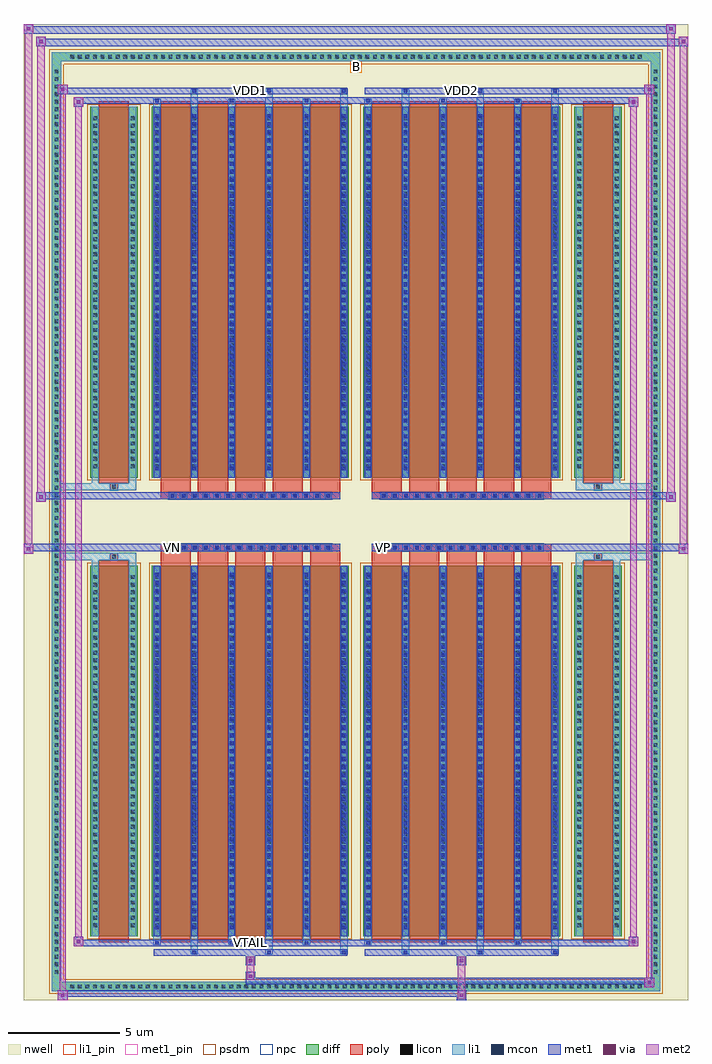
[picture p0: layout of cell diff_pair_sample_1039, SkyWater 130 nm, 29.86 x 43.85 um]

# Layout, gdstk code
import gdstk
lib = gdstk.Library(unit=1e-6, precision=5e-09)
def R(c, l, rs):  # rectangles x0, y0, x1, y1
    for r in rs: c.add(gdstk.rectangle(r[:2], r[2:], *l))
def A(c, l, x, y, w, h, nx, ny, dx, dy):  # array of equal rectangles
    R(c, l, [(x+i*dx, y+j*dy, x+i*dx+w, y+j*dy+h) for i in range(nx) for j in range(ny)])
def P(c, l, *ps):  # polygons
    for p in ps: c.add(gdstk.Polygon(p, *l))
nwell = (64, 20)
diff = (65, 20)
poly = (66, 20)
licon = (66, 44)
li1_pin = (67, 16)
li1 = (67, 20)
mcon = (67, 44)
met1_pin = (68, 16)
met1 = (68, 20)
via = (68, 44)
met2 = (69, 20)
psdm = (94, 20)
npc = (95, 20)

diff_pair_sample_1039 = lib.new_cell('diff_pair_sample_1039')
R(diff_pair_sample_1039, nwell, [(-14.93,-21.49,14.93,22.36), (-12.25,-19.68,-0.01,-0.8), (0.01,-19.68,12.25,-0.8), (-12.25,0.8,-0.01,19.68), (0.01,0.8,12.25,19.68)])
A(diff_pair_sample_1039, diff, -12.955, -21.09, 0.41, 0.41, 76, 2, 0.34, 41.77)
A(diff_pair_sample_1039, diff, -13.66, -20.435, 0.41, 0.41, 1, 120, 0, 0.34)
A(diff_pair_sample_1039, diff, 13.25, -20.435, 0.41, 0.41, 1, 120, 0, 0.34)
R(diff_pair_sample_1039, diff, [(-12.955,-21.09,12.955,-20.68), (-13.66,-20.435,-13.25,20.435), (13.25,-20.435,13.66,20.435), (-11.94,-18.635,-9.81,-1.985), (-9.17,-18.635,-0.32,-1.985), (0.32,-18.635,9.17,-1.985), (9.81,-18.635,11.94,-1.985), (-11.94,1.985,-9.81,18.635), (-9.17,1.985,-0.32,18.635), (0.32,1.985,9.17,18.635), (9.81,1.985,11.94,18.635), (-12.955,20.68,12.955,21.09)])
P(diff_pair_sample_1039, diff, [(13.66,21.09),(-13.66,21.09),(-13.66,-20.68),(-13.25,-20.68),(-13.25,20.68),(13.25,20.68),(13.25,-20.68),(-13.25,-20.68),(-13.66,-20.68),(-13.66,-21.09),(13.66,-21.09)])
A(diff_pair_sample_1039, poly, -8.78, -18.885, 1.35, 17.15, 5, 2, 1.68, 20.62)
A(diff_pair_sample_1039, poly, 0.71, -18.885, 1.35, 17.15, 5, 2, 1.68, 20.62)
A(diff_pair_sample_1039, poly, -8.78, -1.735, 1.35, 0.405, 5, 2, 1.68, 3.065)
A(diff_pair_sample_1039, poly, 0.71, -1.735, 1.35, 0.405, 5, 2, 1.68, 3.065)
A(diff_pair_sample_1039, poly, -8.41, -1.33, 0.33, 0.33, 15, 2, 0.5, 2.33)
A(diff_pair_sample_1039, poly, 1.08, -1.33, 0.33, 0.33, 15, 2, 0.5, 2.33)
R(diff_pair_sample_1039, poly, [(-11.55,-18.885,-10.2,-1.735), (10.2,-18.885,11.55,-1.735), (-11.04,-1.735,-10.71,-1.405), (-11.04,-1.735,-10.71,-1.405), (10.71,-1.735,11.04,-1.405), (10.71,-1.735,11.04,-1.405), (-8.78,-1.33,-0.71,-1), (0.71,-1.33,8.78,-1), (-8.78,1,-0.71,1.33), (0.71,1,8.78,1.33), (-11.04,1.405,-10.71,1.735), (-11.04,1.405,-10.71,1.735), (10.71,1.405,11.04,1.735), (10.71,1.405,11.04,1.735), (-11.55,1.735,-10.2,18.885), (10.2,1.735,11.55,18.885)])
A(diff_pair_sample_1039, licon, -12.835, -20.97, 0.17, 0.17, 76, 2, 0.34, 41.77)
A(diff_pair_sample_1039, licon, -13.54, -20.315, 0.17, 0.17, 1, 120, 0, 0.34)
A(diff_pair_sample_1039, licon, 13.37, -20.315, 0.17, 0.17, 1, 120, 0, 0.34)
A(diff_pair_sample_1039, licon, -11.8, -18.215, 0.17, 0.17, 1, 47, 0, 0.34)
A(diff_pair_sample_1039, licon, -10.12, -18.215, 0.17, 0.17, 1, 47, 0, 0.34)
A(diff_pair_sample_1039, licon, -9.03, -18.215, 0.17, 0.17, 6, 47, 1.68, 0.34)
A(diff_pair_sample_1039, licon, 0.46, -18.215, 0.17, 0.17, 6, 47, 1.68, 0.34)
A(diff_pair_sample_1039, licon, 9.95, -18.215, 0.17, 0.17, 1, 47, 0, 0.34)
A(diff_pair_sample_1039, licon, 11.63, -18.215, 0.17, 0.17, 1, 47, 0, 0.34)
A(diff_pair_sample_1039, licon, -8.33, -1.25, 0.17, 0.17, 15, 2, 0.5, 2.33)
A(diff_pair_sample_1039, licon, 1.16, -1.25, 0.17, 0.17, 15, 2, 0.5, 2.33)
A(diff_pair_sample_1039, licon, -11.8, 2.405, 0.17, 0.17, 1, 47, 0, 0.34)
A(diff_pair_sample_1039, licon, -10.12, 2.405, 0.17, 0.17, 1, 47, 0, 0.34)
A(diff_pair_sample_1039, licon, -9.03, 2.405, 0.17, 0.17, 6, 47, 1.68, 0.34)
A(diff_pair_sample_1039, licon, 0.46, 2.405, 0.17, 0.17, 6, 47, 1.68, 0.34)
A(diff_pair_sample_1039, licon, 9.95, 2.405, 0.17, 0.17, 1, 47, 0, 0.34)
A(diff_pair_sample_1039, licon, 11.63, 2.405, 0.17, 0.17, 1, 47, 0, 0.34)
R(diff_pair_sample_1039, licon, [(-10.96,-1.655,-10.79,-1.485), (10.79,-1.655,10.96,-1.485), (-10.96,1.485,-10.79,1.655), (10.79,1.485,10.96,1.655)])
R(diff_pair_sample_1039, li1_pin, [(-0.25,20.18,0.25,20.68)])
A(diff_pair_sample_1039, li1, -12.915, -21.05, 0.33, 0.33, 76, 2, 0.34, 41.77)
A(diff_pair_sample_1039, li1, -13.62, -20.395, 0.33, 0.33, 1, 120, 0, 0.34)
A(diff_pair_sample_1039, li1, 13.29, -20.395, 0.33, 0.33, 1, 120, 0, 0.34)
A(diff_pair_sample_1039, li1, -7.43, -19.44, 0.33, 0.805, 3, 2, 3.36, 38.075)
A(diff_pair_sample_1039, li1, -7.35, -19.44, 0.17, 0.17, 3, 2, 3.36, 38.71)
A(diff_pair_sample_1039, li1, 2.06, -19.44, 0.33, 0.805, 3, 2, 3.36, 38.075)
A(diff_pair_sample_1039, li1, 2.14, -19.44, 0.17, 0.17, 3, 2, 3.36, 38.71)
A(diff_pair_sample_1039, li1, -9.11, -19.01, 0.33, 0.375, 3, 2, 3.36, 37.645)
A(diff_pair_sample_1039, li1, -9.03, -19.01, 0.17, 0.17, 3, 2, 3.36, 37.85)
A(diff_pair_sample_1039, li1, 0.38, -19.01, 0.33, 0.375, 3, 2, 3.36, 37.645)
A(diff_pair_sample_1039, li1, 0.46, -19.01, 0.17, 0.17, 3, 2, 3.36, 37.85)
A(diff_pair_sample_1039, li1, -9.11, -18.635, 0.33, 16.65, 6, 2, 1.68, 20.62)
A(diff_pair_sample_1039, li1, 0.38, -18.635, 0.33, 16.65, 6, 2, 1.68, 20.62)
A(diff_pair_sample_1039, li1, -9.03, -18.315, 0.17, 0.17, 6, 45, 1.68, 0.36)
A(diff_pair_sample_1039, li1, -9.03, -18.315, 0.17, 16.01, 6, 2, 1.68, 20.62)
A(diff_pair_sample_1039, li1, 0.46, -18.315, 0.17, 0.17, 6, 45, 1.68, 0.36)
A(diff_pair_sample_1039, li1, 0.46, -18.315, 0.17, 16.01, 6, 2, 1.68, 20.62)
A(diff_pair_sample_1039, li1, -11.88, -18.295, 0.33, 0.33, 1, 47, 0, 0.34)
A(diff_pair_sample_1039, li1, -10.2, -18.295, 0.33, 0.33, 1, 47, 0, 0.34)
A(diff_pair_sample_1039, li1, -9.11, -18.295, 0.33, 0.33, 6, 47, 1.68, 0.34)
A(diff_pair_sample_1039, li1, 0.38, -18.295, 0.33, 0.33, 6, 47, 1.68, 0.34)
A(diff_pair_sample_1039, li1, 9.87, -18.295, 0.33, 0.33, 1, 47, 0, 0.34)
A(diff_pair_sample_1039, li1, 11.55, -18.295, 0.33, 0.33, 1, 47, 0, 0.34)
A(diff_pair_sample_1039, li1, -8.41, -1.33, 0.33, 0.33, 15, 2, 0.5, 2.33)
A(diff_pair_sample_1039, li1, 1.08, -1.33, 0.33, 0.33, 15, 2, 0.5, 2.33)
A(diff_pair_sample_1039, li1, -9.03, 2.305, 0.17, 0.17, 6, 45, 1.68, 0.36)
A(diff_pair_sample_1039, li1, 0.46, 2.305, 0.17, 0.17, 6, 45, 1.68, 0.36)
A(diff_pair_sample_1039, li1, -11.88, 2.325, 0.33, 0.33, 1, 47, 0, 0.34)
A(diff_pair_sample_1039, li1, -10.2, 2.325, 0.33, 0.33, 1, 47, 0, 0.34)
A(diff_pair_sample_1039, li1, -9.11, 2.325, 0.33, 0.33, 6, 47, 1.68, 0.34)
A(diff_pair_sample_1039, li1, 0.38, 2.325, 0.33, 0.33, 6, 47, 1.68, 0.34)
A(diff_pair_sample_1039, li1, 9.87, 2.325, 0.33, 0.33, 1, 47, 0, 0.34)
A(diff_pair_sample_1039, li1, 11.55, 2.325, 0.33, 0.33, 1, 47, 0, 0.34)
R(diff_pair_sample_1039, li1, [(-13.66,-21.09,-13.25,-20.68), (-13.66,-21.09,-13.25,-20.68), (-13.25,-21.09,13.25,-20.68), (13.25,-21.09,13.66,-20.68), (13.25,-21.09,13.66,-20.68), (-13.66,-20.68,-13.25,20.68), (13.25,-20.68,13.66,20.68), (-11.88,-18.635,-11.55,-1.985), (-10.2,-18.635,-9.87,-1.985), (9.87,-18.635,10.2,-1.985), (11.55,-18.635,11.88,-1.985), (-11.88,-1.985,-11.55,-1.405), (-10.2,-1.985,-9.87,-1.405), (9.87,-1.985,10.2,-1.405), (11.55,-1.985,11.88,-1.405), (-13.66,-1.735,-11.04,-1.405), (-11.88,-1.735,-11.04,-1.405), (-11.04,-1.735,-10.71,-1.405), (-10.71,-1.735,-9.87,-1.405), (9.87,-1.735,10.71,-1.405), (10.71,-1.735,11.04,-1.405), (10.71,-1.735,13.66,-1.405), (11.04,-1.735,11.88,-1.405), (-13.66,1.405,-11.04,1.735), (-11.88,1.405,-11.04,1.735), (-11.88,1.405,-11.55,1.985), (-11.04,1.405,-10.71,1.735), (-10.71,1.405,-9.87,1.735), (-10.2,1.405,-9.87,1.985), (9.87,1.405,10.71,1.735), (9.87,1.405,10.2,1.985), (10.71,1.405,11.04,1.735), (10.71,1.405,13.66,1.735), (11.04,1.405,11.88,1.735), (11.55,1.405,11.88,1.985), (-11.88,1.985,-11.55,18.635), (-10.2,1.985,-9.87,18.635), (9.87,1.985,10.2,18.635), (11.55,1.985,11.88,18.635), (-13.66,20.68,-13.25,21.09), (-13.66,20.68,-13.25,21.09), (-13.25,20.68,13.25,21.09), (13.25,20.68,13.66,21.09), (13.25,20.68,13.66,21.09)])
A(diff_pair_sample_1039, mcon, -7.35, -19.44, 0.17, 0.17, 3, 2, 3.36, 38.71)
A(diff_pair_sample_1039, mcon, 2.14, -19.44, 0.17, 0.17, 3, 2, 3.36, 38.71)
A(diff_pair_sample_1039, mcon, -9.03, -19.01, 0.17, 0.17, 3, 2, 3.36, 37.85)
A(diff_pair_sample_1039, mcon, 0.46, -19.01, 0.17, 0.17, 3, 2, 3.36, 37.85)
A(diff_pair_sample_1039, mcon, -9.03, -18.315, 0.17, 0.17, 6, 45, 1.68, 0.36)
A(diff_pair_sample_1039, mcon, 0.46, -18.315, 0.17, 0.17, 6, 45, 1.68, 0.36)
A(diff_pair_sample_1039, mcon, -8.33, -1.25, 0.17, 0.17, 15, 2, 0.5, 2.33)
A(diff_pair_sample_1039, mcon, 1.16, -1.25, 0.17, 0.17, 15, 2, 0.5, 2.33)
A(diff_pair_sample_1039, mcon, -9.03, 2.305, 0.17, 0.17, 6, 45, 1.68, 0.36)
A(diff_pair_sample_1039, mcon, 0.46, 2.305, 0.17, 0.17, 6, 45, 1.68, 0.36)
R(diff_pair_sample_1039, met1_pin, [(-4.88,-19.05,-4.61,-18.78), (-8.38,-1.29,-8.11,-1.02), (1.11,-1.29,1.38,-1.02), (-4.88,19.23,-4.61,19.5), (4.61,19.23,4.88,19.5)])
A(diff_pair_sample_1039, met1, -7.41, -19.5, 0.29, 0.29, 3, 2, 3.36, 38.71)
A(diff_pair_sample_1039, met1, 2.08, -19.5, 0.29, 0.29, 3, 2, 3.36, 38.71)
A(diff_pair_sample_1039, met1, -9.09, -19.07, 0.29, 0.29, 3, 2, 3.36, 37.85)
A(diff_pair_sample_1039, met1, 0.4, -19.07, 0.29, 0.29, 3, 2, 3.36, 37.85)
A(diff_pair_sample_1039, met1, -9.09, -18.635, 0.29, 16.65, 6, 2, 1.68, 20.62)
A(diff_pair_sample_1039, met1, 0.4, -18.635, 0.29, 16.65, 6, 2, 1.68, 20.62)
A(diff_pair_sample_1039, met1, -9.09, -18.375, 0.29, 0.29, 6, 45, 1.68, 0.36)
A(diff_pair_sample_1039, met1, 0.4, -18.375, 0.29, 0.29, 6, 45, 1.68, 0.36)
A(diff_pair_sample_1039, met1, -8.39, -1.31, 0.29, 0.29, 15, 2, 0.5, 2.33)
A(diff_pair_sample_1039, met1, 1.1, -1.31, 0.29, 0.29, 15, 2, 0.5, 2.33)
A(diff_pair_sample_1039, met1, -9.09, 2.245, 0.29, 0.29, 6, 45, 1.68, 0.36)
A(diff_pair_sample_1039, met1, 0.4, 2.245, 0.29, 0.29, 6, 45, 1.68, 0.36)
R(diff_pair_sample_1039, met1, [(-13.39,-21.49,-12.96,-21.06), (4.53,-21.49,4.96,-21.06), (-13.39,-21.35,4.96,-21.06), (12.96,-20.92,13.39,-20.49), (-4.96,-20.78,13.39,-20.49), (-4.96,-20.64,-4.53,-20.21), (-4.96,-19.93,-4.53,-19.5), (4.53,-19.93,4.96,-19.5), (-9.09,-19.5,-0.4,-19.21), (0.4,-19.5,9.09,-19.21), (-12.68,-19.07,-12.25,-18.64), (-12.68,-19.07,-9.09,-18.78), (-9.09,-19.07,-0.4,-18.78), (-0.4,-19.07,0.4,-18.78), (0.4,-19.07,9.09,-18.78), (9.09,-19.07,12.68,-18.78), (12.25,-19.07,12.68,-18.64), (-14.93,-1.43,-14.5,-1), (14.5,-1.43,14.93,-1), (-14.93,-1.33,-0.71,-1), (-8.78,-1.33,-0.71,-1), (0.71,-1.33,8.78,-1), (0.71,-1.33,14.93,-1), (-14.36,0.9,-13.93,1.33), (13.93,0.9,14.36,1.33), (-14.36,1,-8.78,1.33), (-8.78,1,-0.71,1.33), (0.71,1,8.78,1.33), (8.78,1,14.36,1.33), (-12.68,18.64,-12.25,19.07), (12.25,18.64,12.68,19.07), (-12.68,18.78,-9.09,19.07), (-9.09,18.78,-0.4,19.07), (-0.4,18.78,0.4,19.07), (0.4,18.78,9.09,19.07), (9.09,18.78,12.68,19.07), (-13.39,19.21,-12.96,19.64), (-13.39,19.21,-9.09,19.5), (-9.09,19.21,-0.4,19.5), (0.4,19.21,9.09,19.5), (9.09,19.21,13.39,19.5), (12.96,19.21,13.39,19.64), (-14.36,21.36,-13.93,21.79), (-14.36,21.36,-12.25,21.69), (-12.25,21.36,12.25,21.69), (12.25,21.36,14.93,21.69), (14.5,21.36,14.93,21.79), (-14.93,21.93,-14.5,22.36), (-14.93,21.93,-12.25,22.26), (-12.25,21.93,12.25,22.26), (12.25,21.93,14.36,22.26), (13.93,21.93,14.36,22.36)])
R(diff_pair_sample_1039, via, [(-13.25,-21.35,-13.1,-21.2), (4.67,-21.35,4.82,-21.2), (13.1,-20.78,13.25,-20.63), (-4.82,-20.5,-4.67,-20.35), (-4.82,-19.79,-4.67,-19.64), (4.67,-19.79,4.82,-19.64), (-12.54,-18.93,-12.39,-18.78), (12.39,-18.93,12.54,-18.78), (-14.79,-1.29,-14.64,-1.14), (14.64,-1.29,14.79,-1.14), (-14.22,1.04,-14.07,1.19), (14.07,1.04,14.22,1.19), (-12.54,18.78,-12.39,18.93), (12.39,18.78,12.54,18.93), (-13.25,19.35,-13.1,19.5), (13.1,19.35,13.25,19.5), (-14.22,21.5,-14.07,21.65), (14.64,21.5,14.79,21.65), (-14.79,22.07,-14.64,22.22), (14.07,22.07,14.22,22.22)])
R(diff_pair_sample_1039, met2, [(-13.39,-21.49,-12.96,-21.06), (-13.32,-21.49,-13.03,19.64), (-13.03,-21.49,-12.96,-21.06), (-13.34,-21.44,-13.01,-21.11), (4.58,-21.44,4.91,-21.11), (4.58,-21.11,4.91,-19.88), (12.96,-20.92,13.39,-20.49), (13.03,-20.92,13.32,19.64), (13.32,-20.92,13.39,-20.49), (13.01,-20.87,13.34,-20.54), (-4.91,-20.59,-4.58,-20.26), (-4.91,-20.26,-4.58,-19.88), (-4.91,-19.88,-4.58,-19.55), (4.58,-19.88,4.91,-19.55), (-12.68,-19.07,-12.25,-18.64), (-12.61,-19.07,-12.32,19.07), (-12.32,-19.07,-12.25,-18.64), (12.25,-19.07,12.68,-18.64), (12.32,-19.07,12.61,19.07), (12.61,-19.07,12.68,-18.64), (-12.63,-19.02,-12.3,-18.69), (12.3,-19.02,12.63,-18.69), (-14.93,-1.43,-14.5,-1), (-14.88,-1.43,-14.55,22.36), (-14.55,-1.43,-14.5,-1), (14.5,-1.43,14.93,-1), (14.55,-1.43,14.88,21.79), (14.88,-1.43,14.93,-1), (-14.88,-1.38,-14.55,-1.05), (14.55,-1.38,14.88,-1.05), (-14.36,0.9,-13.93,1.33), (-14.31,0.9,-13.98,21.79), (-13.98,0.9,-13.93,1.33), (13.93,0.9,14.36,1.33), (13.98,0.9,14.31,22.36), (14.31,0.9,14.36,1.33), (-14.31,0.95,-13.98,1.28), (13.98,0.95,14.31,1.28), (-12.68,18.64,-12.25,19.07), (-12.32,18.64,-12.25,19.07), (12.25,18.64,12.68,19.07), (12.61,18.64,12.68,19.07), (-12.63,18.69,-12.3,19.02), (12.3,18.69,12.63,19.02), (-13.39,19.21,-12.96,19.64), (-13.03,19.21,-12.96,19.64), (12.96,19.21,13.39,19.64), (13.32,19.21,13.39,19.64), (-13.34,19.26,-13.01,19.59), (13.01,19.26,13.34,19.59), (-14.36,21.36,-13.93,21.79), (-13.98,21.36,-13.93,21.79), (14.5,21.36,14.93,21.79), (14.88,21.36,14.93,21.79), (-14.31,21.41,-13.98,21.74), (14.55,21.41,14.88,21.74), (-14.93,21.93,-14.5,22.36), (-14.55,21.93,-14.5,22.36), (13.93,21.93,14.36,22.36), (14.31,21.93,14.36,22.36), (-14.88,21.98,-14.55,22.31), (13.98,21.98,14.31,22.31)])
R(diff_pair_sample_1039, psdm, [(-12.07,-18.765,-9.68,-1.855), (-9.3,-18.765,-0.19,-1.855), (0.19,-18.765,9.3,-1.855), (9.68,-18.765,12.07,-1.855), (-12.07,1.855,-9.68,18.765), (-9.3,1.855,-0.19,18.765), (0.19,1.855,9.3,18.765), (9.68,1.855,12.07,18.765)])
P(diff_pair_sample_1039, psdm, [(13.79,21.22),(-13.79,21.22),(-13.79,-20.55),(-13.12,-20.55),(-13.12,20.55),(13.12,20.55),(13.12,-20.55),(-13.12,-20.55),(-13.79,-20.55),(-13.79,-21.22),(13.79,-21.22)])
A(diff_pair_sample_1039, npc, -8.43, -1.35, 0.37, 0.37, 15, 2, 0.5, 2.33)
A(diff_pair_sample_1039, npc, 1.06, -1.35, 0.37, 0.37, 15, 2, 0.5, 2.33)
R(diff_pair_sample_1039, npc, [(-11.06,-1.755,-10.69,-1.385), (10.69,-1.755,11.06,-1.385), (-8.43,-1.35,-7.56,-0.98), (-8.43,-1.35,-7.56,-0.98), (-7.93,-1.35,-7.06,-0.98), (-7.93,-1.35,-7.06,-0.98), (-7.43,-1.35,-6.56,-0.98), (-7.43,-1.35,-6.56,-0.98), (-6.93,-1.35,-6.06,-0.98), (-6.93,-1.35,-6.06,-0.98), (-6.43,-1.35,-5.56,-0.98), (-6.43,-1.35,-5.56,-0.98), (-5.93,-1.35,-5.06,-0.98), (-5.93,-1.35,-5.06,-0.98), (-5.43,-1.35,-4.56,-0.98), (-5.43,-1.35,-4.56,-0.98), (-4.93,-1.35,-4.06,-0.98), (-4.93,-1.35,-4.06,-0.98), (-4.43,-1.35,-3.56,-0.98), (-4.43,-1.35,-3.56,-0.98), (-3.93,-1.35,-3.06,-0.98), (-3.93,-1.35,-3.06,-0.98), (-3.43,-1.35,-2.56,-0.98), (-3.43,-1.35,-2.56,-0.98), (-2.93,-1.35,-2.06,-0.98), (-2.93,-1.35,-2.06,-0.98), (-2.43,-1.35,-1.56,-0.98), (-2.43,-1.35,-1.56,-0.98), (-1.93,-1.35,-1.06,-0.98), (-1.93,-1.35,-1.06,-0.98), (1.06,-1.35,1.93,-0.98), (1.06,-1.35,1.93,-0.98), (1.56,-1.35,2.43,-0.98), (1.56,-1.35,2.43,-0.98), (2.06,-1.35,2.93,-0.98), (2.06,-1.35,2.93,-0.98), (2.56,-1.35,3.43,-0.98), (2.56,-1.35,3.43,-0.98), (3.06,-1.35,3.93,-0.98), (3.06,-1.35,3.93,-0.98), (3.56,-1.35,4.43,-0.98), (3.56,-1.35,4.43,-0.98), (4.06,-1.35,4.93,-0.98), (4.06,-1.35,4.93,-0.98), (4.56,-1.35,5.43,-0.98), (4.56,-1.35,5.43,-0.98), (5.06,-1.35,5.93,-0.98), (5.06,-1.35,5.93,-0.98), (5.56,-1.35,6.43,-0.98), (5.56,-1.35,6.43,-0.98), (6.06,-1.35,6.93,-0.98), (6.06,-1.35,6.93,-0.98), (6.56,-1.35,7.43,-0.98), (6.56,-1.35,7.43,-0.98), (7.06,-1.35,7.93,-0.98), (7.06,-1.35,7.93,-0.98), (7.56,-1.35,8.43,-0.98), (7.56,-1.35,8.43,-0.98), (-8.43,0.98,-7.56,1.35), (-8.43,0.98,-7.56,1.35), (-7.93,0.98,-7.06,1.35), (-7.93,0.98,-7.06,1.35), (-7.43,0.98,-6.56,1.35), (-7.43,0.98,-6.56,1.35), (-6.93,0.98,-6.06,1.35), (-6.93,0.98,-6.06,1.35), (-6.43,0.98,-5.56,1.35), (-6.43,0.98,-5.56,1.35), (-5.93,0.98,-5.06,1.35), (-5.93,0.98,-5.06,1.35), (-5.43,0.98,-4.56,1.35), (-5.43,0.98,-4.56,1.35), (-4.93,0.98,-4.06,1.35), (-4.93,0.98,-4.06,1.35), (-4.43,0.98,-3.56,1.35), (-4.43,0.98,-3.56,1.35), (-3.93,0.98,-3.06,1.35), (-3.93,0.98,-3.06,1.35), (-3.43,0.98,-2.56,1.35), (-3.43,0.98,-2.56,1.35), (-2.93,0.98,-2.06,1.35), (-2.93,0.98,-2.06,1.35), (-2.43,0.98,-1.56,1.35), (-2.43,0.98,-1.56,1.35), (-1.93,0.98,-1.06,1.35), (-1.93,0.98,-1.06,1.35), (1.06,0.98,1.93,1.35), (1.06,0.98,1.93,1.35), (1.56,0.98,2.43,1.35), (1.56,0.98,2.43,1.35), (2.06,0.98,2.93,1.35), (2.06,0.98,2.93,1.35), (2.56,0.98,3.43,1.35), (2.56,0.98,3.43,1.35), (3.06,0.98,3.93,1.35), (3.06,0.98,3.93,1.35), (3.56,0.98,4.43,1.35), (3.56,0.98,4.43,1.35), (4.06,0.98,4.93,1.35), (4.06,0.98,4.93,1.35), (4.56,0.98,5.43,1.35), (4.56,0.98,5.43,1.35), (5.06,0.98,5.93,1.35), (5.06,0.98,5.93,1.35), (5.56,0.98,6.43,1.35), (5.56,0.98,6.43,1.35), (6.06,0.98,6.93,1.35), (6.06,0.98,6.93,1.35), (6.56,0.98,7.43,1.35), (6.56,0.98,7.43,1.35), (7.06,0.98,7.93,1.35), (7.06,0.98,7.93,1.35), (7.56,0.98,8.43,1.35), (7.56,0.98,8.43,1.35), (-11.06,1.385,-10.69,1.755), (10.69,1.385,11.06,1.755)])
diff_pair_sample_1039.add(gdstk.Label('VTAIL', (-4.745,-18.915), layer=68, texttype=5))
diff_pair_sample_1039.add(gdstk.Label('VN', (-8.245,-1.155), layer=68, texttype=5))
diff_pair_sample_1039.add(gdstk.Label('VP', (1.245,-1.155), layer=68, texttype=5))
diff_pair_sample_1039.add(gdstk.Label('B', (0,20.43), layer=67, texttype=5))
diff_pair_sample_1039.add(gdstk.Label('VDD2', (4.745,19.365), layer=68, texttype=5))
diff_pair_sample_1039.add(gdstk.Label('VDD1', (-4.745,19.365), layer=68, texttype=5))

lib.write_gds('diff_pair_sample_1039.gds')
